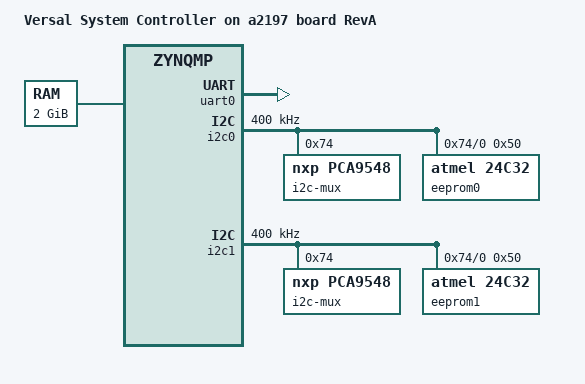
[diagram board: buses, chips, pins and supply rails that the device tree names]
// SPDX-License-Identifier: GPL-2.0
/*
 * dts file for Xilinx Versal a2197 RevA System Controller
 *
 * (C) Copyright 2019, Xilinx, Inc.
 *
 * Michal Simek <michal.simek@amd.com>
 */
/dts-v1/;

#include "zynqmp.dtsi"
#include "zynqmp-clk-ccf.dtsi"
#include <dt-bindings/gpio/gpio.h>

/ {
	model = "Versal System Controller on a2197 board RevA";
	compatible = "xlnx,zynqmp-a2197-revA", "xlnx,zynqmp-a2197", "xlnx,zynqmp";

	aliases {
		i2c0 = &i2c0;
		nvmem0 = &eeprom1;
		nvmem1 = &eeprom0;
		serial0 = &uart0;
	};

	chosen {
		bootargs = "earlycon";
		stdout-path = "serial0:115200n8";
	};

	memory@0 {
		device_type = "memory";
		reg = <0x0 0x0 0x0 0x80000000>;
	};
};

&uart0 { /* uart0 MIO38-39 */
	status = "okay";
};

&i2c0 {
	status = "okay";
	bootph-all;
	clock-frequency = <400000>;
	i2c-mux@74 { /* this cover MGT board */
		compatible = "nxp,pca9548";
		#address-cells = <1>;
		#size-cells = <0>;
		reg = <0x74>;
		bootph-all;
		/* FIXME reset connected to SYSCTRL_IIC_MUX0_RESET */
		i2c@0 {
			#address-cells = <1>;
			#size-cells = <0>;
			reg = <0>;
			/* Use for storing information about SC board */
			eeprom0: eeprom@50 { /* u96 - 24LC32A - 256B */
				compatible = "atmel,24c32";
				bootph-all;
				reg = <0x50>;
			};
		};
	};
};

&i2c1 {
	status = "okay";
	bootph-all;
	clock-frequency = <400000>;
	i2c-mux@74 { /* This cover processor board */
		compatible = "nxp,pca9548";
		#address-cells = <1>;
		#size-cells = <0>;
		reg = <0x74>;
		bootph-all;
		/* FIXME reset connected to SYSCTRL_IIC_MUX0_RESET */
		i2c@0 {
			#address-cells = <1>;
			#size-cells = <0>;
			reg = <0>;
			/* Use for storing information about SC board */
			eeprom1: eeprom@50 { /* u96 - 24LC32A - 256B */
				compatible = "atmel,24c32";
				bootph-all;
				reg = <0x50>;
			};
		};
	};
};
